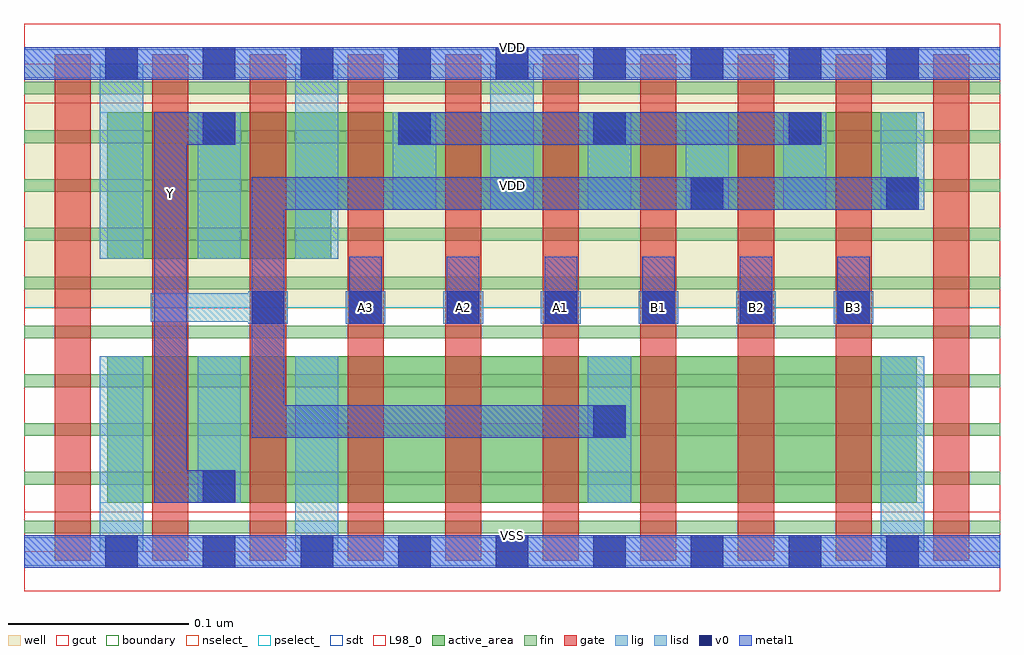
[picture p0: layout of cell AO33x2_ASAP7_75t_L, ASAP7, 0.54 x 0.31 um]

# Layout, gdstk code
import gdstk
lib = gdstk.Library(unit=1e-6, precision=2.5e-10)
def R(c, l, rs):  # rectangles x0, y0, x1, y1
    for r in rs: c.add(gdstk.rectangle(r[:2], r[2:], *l))
def A(c, l, x, y, w, h, nx, ny, dx, dy):  # array of equal rectangles
    R(c, l, [(x+i*dx, y+j*dy, x+i*dx+w, y+j*dy+h) for i in range(nx) for j in range(ny)])
def P(c, l, *ps):  # polygons
    for p in ps: c.add(gdstk.Polygon(p, *l))
well = (1, 0)
fin = (2, 0)
gate = (7, 0)
gcut = (10, 0)
active_area = (11, 0)
nselect_ = (12, 0)
pselect_ = (13, 0)
lig = (16, 0)
lisd = (17, 0)
v0 = (18, 0)
metal1 = (19, 0)
sdt = (88, 0)
L98_0 = (98, 0)
boundary = (100, 0)

ao33x2_asap7_75t_l = lib.new_cell('AO33x2_ASAP7_75t_L')
R(ao33x2_asap7_75t_l, well, [(0,0.135,0.54,0.27)])
A(ao33x2_asap7_75t_l, fin, 0, 0.01, 0.54, 0.007, 1, 10, 0, 0.027)
A(ao33x2_asap7_75t_l, gate, 0.017, -0.005, 0.02, 0.28, 10, 1, 0.054, 0)
R(ao33x2_asap7_75t_l, gcut, [(0,-0.022,0.54,0.022), (0,0.248,0.54,0.292)])
R(ao33x2_asap7_75t_l, active_area, [(0.046,0.027,0.494,0.108)])
P(ao33x2_asap7_75t_l, active_area, [(0.494,0.243),(0.046,0.243),(0.046,0.162),(0.17,0.162),(0.17,0.189),(0.494,0.189)])
R(ao33x2_asap7_75t_l, nselect_, [(0,0,0.54,0.135)])
R(ao33x2_asap7_75t_l, pselect_, [(0,0.135,0.54,0.27)])
A(ao33x2_asap7_75t_l, lig, 0.124, 0.126, 0.022, 0.018, 7, 1, 0.054, 0)
R(ao33x2_asap7_75t_l, lig, [(0,-0.008,0.54,0.008), (0.07,0.127,0.146,0.143), (0,0.262,0.54,0.278)])
A(ao33x2_asap7_75t_l, lisd, 0.312, 0.189, 0.024, 0.054, 4, 1, 0.054, 0)
R(ao33x2_asap7_75t_l, lisd, [(0.042,0,0.066,0.108), (0.042,0,0.066,0.108), (0.15,0,0.174,0.108), (0.15,0,0.174,0.108), (0.474,0,0.498,0.108), (0.474,0,0.498,0.108), (0.096,0.027,0.12,0.108), (0.312,0.027,0.336,0.108), (0.042,0.162,0.066,0.27), (0.042,0.162,0.066,0.27), (0.096,0.162,0.12,0.243), (0.15,0.162,0.174,0.27), (0.15,0.162,0.174,0.27), (0.204,0.189,0.228,0.243), (0.258,0.189,0.282,0.27), (0.258,0.189,0.282,0.27)])
A(ao33x2_asap7_75t_l, v0, 0.045, -0.009, 0.018, 0.018, 9, 2, 0.054, 0.27)
A(ao33x2_asap7_75t_l, v0, 0.126, 0.126, 0.018, 0.018, 7, 1, 0.054, 0)
A(ao33x2_asap7_75t_l, v0, 0.099, 0.225, 0.018, 0.018, 4, 1, 0.108, 0)
R(ao33x2_asap7_75t_l, v0, [(0.099,0.027,0.117,0.045), (0.315,0.063,0.333,0.081), (0.369,0.189,0.387,0.207), (0.477,0.189,0.495,0.207)])
A(ao33x2_asap7_75t_l, metal1, 0.126, 0.126, 0.018, 0.018, 7, 1, 0.054, 0)
A(ao33x2_asap7_75t_l, metal1, 0.18, 0.126, 0.018, 0.037, 6, 1, 0.054, 0)
A(ao33x2_asap7_75t_l, metal1, 0.099, 0.225, 0.018, 0.018, 4, 1, 0.108, 0)
R(ao33x2_asap7_75t_l, metal1, [(0,-0.009,0.54,0.009), (0.099,0.027,0.117,0.045), (0.315,0.063,0.333,0.081), (0.369,0.189,0.387,0.207), (0.477,0.189,0.495,0.207), (0.207,0.225,0.441,0.243), (0,0.261,0.54,0.279)])
P(ao33x2_asap7_75t_l, metal1, [(0.495,0.207),(0.126,0.207),(0.126,0.063),(0.333,0.063),(0.333,0.081),(0.144,0.081),(0.144,0.189),(0.495,0.189)],
  [(0.117,0.045),(0.09,0.045),(0.09,0.225),(0.117,0.225),(0.117,0.243),(0.072,0.243),(0.072,0.027),(0.117,0.027)])
A(ao33x2_asap7_75t_l, sdt, 0.042, 0.027, 0.024, 0.081, 3, 2, 0.054, 0.135)
A(ao33x2_asap7_75t_l, sdt, 0.15, 0.027, 0.024, 0.081, 3, 1, 0.162, 0)
A(ao33x2_asap7_75t_l, sdt, 0.258, 0.189, 0.024, 0.054, 5, 1, 0.054, 0)
R(ao33x2_asap7_75t_l, sdt, [(0.042,0.027,0.066,0.108), (0.474,0.027,0.498,0.108), (0.042,0.162,0.066,0.243), (0.15,0.162,0.174,0.243), (0.204,0.189,0.228,0.243), (0.258,0.189,0.282,0.243)])
R(ao33x2_asap7_75t_l, L98_0, [(0,0,0.54,0.27)])
R(ao33x2_asap7_75t_l, boundary, [(0,0,0.54,0.27)])
ao33x2_asap7_75t_l.add(gdstk.Label('VDD', (0.27,0.2025), layer=1, texttype=251))
ao33x2_asap7_75t_l.add(gdstk.Label('VSS', (0.27,-0.0675), layer=3, texttype=251))
ao33x2_asap7_75t_l.add(gdstk.Label('VSS', (0.27,0.009), layer=19, texttype=251))
ao33x2_asap7_75t_l.add(gdstk.Label('VDD', (0.27,0.279), layer=19, texttype=251))
ao33x2_asap7_75t_l.add(gdstk.Label('Y', (0.081,0.198), layer=19, texttype=251))
ao33x2_asap7_75t_l.add(gdstk.Label('A3', (0.189,0.135), layer=19, texttype=251))
ao33x2_asap7_75t_l.add(gdstk.Label('A2', (0.243,0.135), layer=19, texttype=251))
ao33x2_asap7_75t_l.add(gdstk.Label('A1', (0.297,0.135), layer=19, texttype=251))
ao33x2_asap7_75t_l.add(gdstk.Label('B1', (0.351,0.135), layer=19, texttype=251))
ao33x2_asap7_75t_l.add(gdstk.Label('B2', (0.405,0.135), layer=19, texttype=251))
ao33x2_asap7_75t_l.add(gdstk.Label('B3', (0.459,0.135), layer=19, texttype=251))

lib.write_gds('AO33x2_ASAP7_75t_L.gds')
